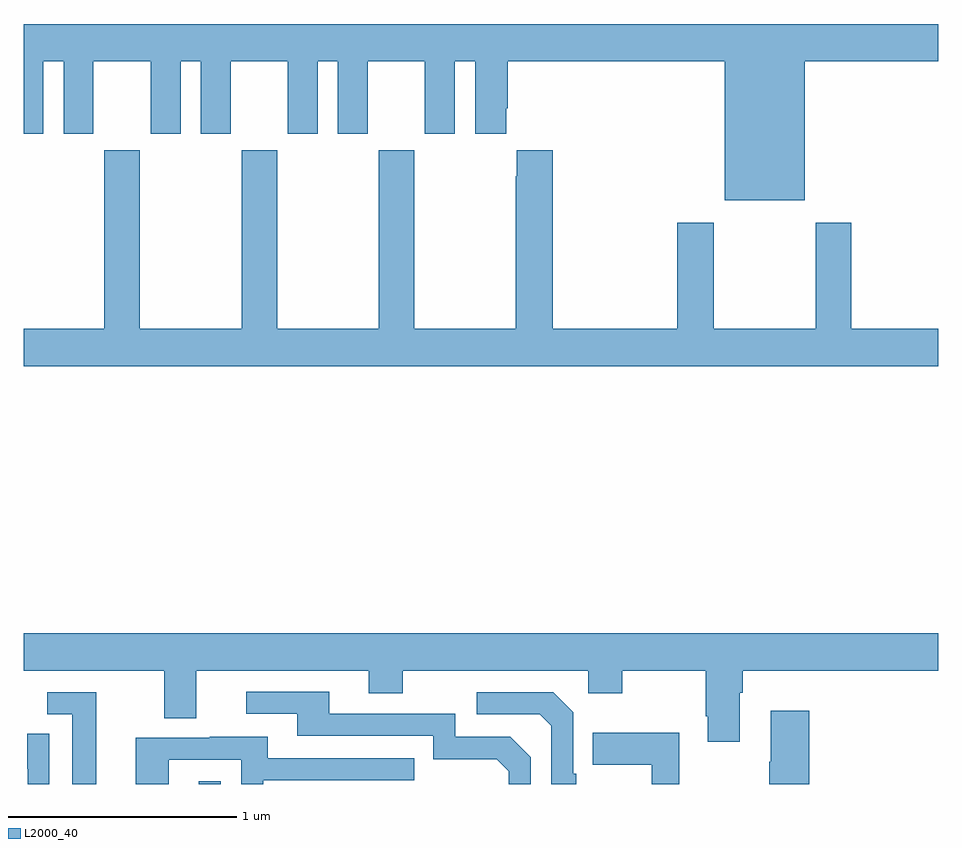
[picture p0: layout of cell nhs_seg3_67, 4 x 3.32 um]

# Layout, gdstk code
import gdstk
lib = gdstk.Library(unit=1e-6, precision=1e-09)
def R(c, l, rs):  # rectangles x0, y0, x1, y1
    for r in rs: c.add(gdstk.rectangle(r[:2], r[2:], *l))
def P(c, l, *ps):  # polygons
    for p in ps: c.add(gdstk.Polygon(p, *l))
L2000_40 = (2000, 40)

nhs_seg3_67 = lib.new_cell('nhs_seg3_67')
R(nhs_seg3_67, L2000_40, [(113.765,720.4,113.862,720.412)])
P(nhs_seg3_67, L2000_40, [(116.416,723.56),(117,723.56),(117,723.724),(113,723.724),(113,723.243),(113.086,723.243),(113.086,723.56),(113.174,723.56),(113.174,723.243),(113.305,723.243),(113.305,723.56),(113.555,723.56),(113.555,723.243),(113.686,723.243),(113.686,723.56),(113.774,723.56),(113.774,723.243),(113.905,723.243),(113.905,723.56),(114.155,723.56),(114.155,723.243),(114.286,723.243),(114.286,723.56),(114.374,723.56),(114.374,723.243),(114.505,723.243),(114.505,723.56),(114.755,723.56),(114.755,723.243),(114.886,723.243),(114.886,723.56),(114.974,723.56),(114.974,723.243),(115.111,723.243),(115.111,723.355),(115.118,723.355),(115.118,723.56),(116.066,723.56),(116.066,722.954),(116.416,722.954)],
  [(117,722.392),(116.619,722.392),(116.619,722.854),(116.464,722.854),(116.464,722.392),(116.019,722.392),(116.019,722.854),(115.859,722.854),(115.859,722.392),(115.313,722.392),(115.313,723.172),(115.157,723.172),(115.157,723.059),(115.153,723.059),(115.153,722.392),(114.708,722.392),(114.708,723.172),(114.553,723.172),(114.553,722.392),(114.108,722.392),(114.108,723.172),(113.953,723.172),(113.953,722.392),(113.508,722.392),(113.508,723.172),(113.353,723.172),(113.353,722.392),(113,722.392),(113,722.228),(117,722.228)],
  [(116.131,720.8),(116.144,720.8),(116.144,720.896),(117,720.896),(117,721.06),(113,721.06),(113,720.896),(113.615,720.896),(113.615,720.688),(113.755,720.688),(113.755,720.896),(114.509,720.896),(114.509,720.797),(114.657,720.797),(114.657,720.896),(115.47,720.896),(115.47,720.797),(115.617,720.797),(115.617,720.896),(115.984,720.896),(115.984,720.697),(115.991,720.697),(115.991,720.585),(116.131,720.585)],
  [(115.218,720.516),(115.128,720.606),(114.888,720.606),(114.888,720.708),(114.337,720.708),(114.337,720.804),(113.973,720.804),(113.973,720.708),(114.197,720.708),(114.197,720.612),(114.792,720.612),(114.792,720.509),(115.069,720.509),(115.122,720.456),(115.122,720.4),(115.218,720.4)],
  [(115.417,720.445),(115.404,720.445),(115.404,720.714),(115.317,720.801),(114.981,720.801),(114.981,720.705),(115.257,720.705),(115.308,720.654),(115.308,720.4),(115.417,720.4)],
  [(113.317,720.801),(113.103,720.801),(113.103,720.705),(113.213,720.705),(113.213,720.4),(113.317,720.4)],
  [(116.435,720.721),(116.267,720.721),(116.267,720.497),(116.26,720.497),(116.26,720.4),(116.435,720.4)],
  [(115.867,720.625),(115.489,720.625),(115.489,720.485),(115.746,720.485),(115.746,720.4),(115.867,720.4)],
  [(113.112,720.62),(113.016,720.62),(113.016,720.466),(113.018,720.466),(113.018,720.4),(113.112,720.4)],
  [(113.634,720.507),(113.952,720.507),(113.952,720.4),(114.048,720.4),(114.048,720.417),(114.707,720.417),(114.707,720.513),(114.067,720.513),(114.067,720.607),(113.813,720.607),(113.813,720.603),(113.489,720.603),(113.489,720.4),(113.634,720.4)])

lib.write_gds('nhs_seg3_67.gds')
